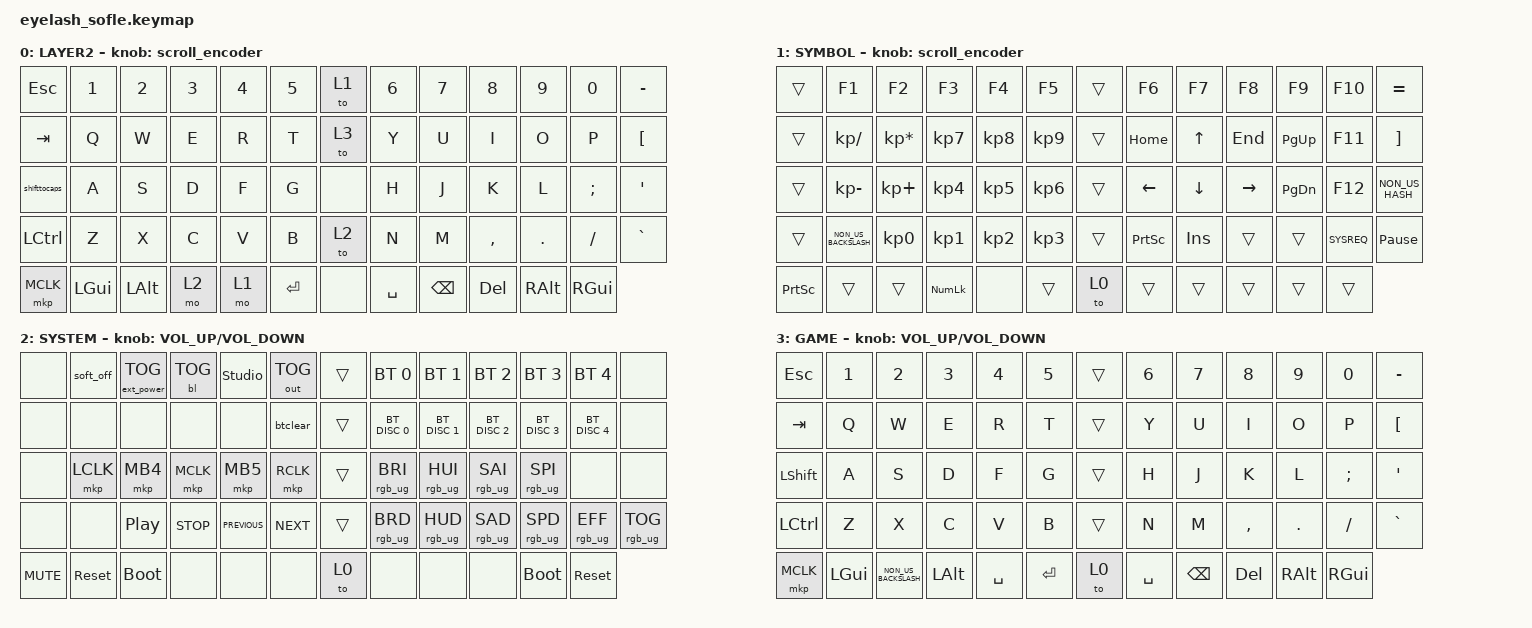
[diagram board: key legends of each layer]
#define ZMK_POINTING_DEFAULT_MOVE_VAL 1200  // 600
#define ZMK_POINTING_DEFAULT_SCRL_VAL 18   // 10

#include <input/processors.dtsi>
#include <zephyr/dt-bindings/input/input-event-codes.h>
#include <behaviors.dtsi>
#include <dt-bindings/zmk/backlight.h>
#include <dt-bindings/zmk/bt.h>
#include <dt-bindings/zmk/ext_power.h>
#include <dt-bindings/zmk/keys.h>
#include <dt-bindings/zmk/outputs.h>
#include <dt-bindings/zmk/pointing.h>
#include <dt-bindings/zmk/rgb.h>

&mmv_input_listener { input-processors = <&zip_xy_scaler 2 1>; };

//&msc_input_listener { input-processors = <&zip_scroll_scaler 2 1>; };

&msc_input_listener {
};

&msc {
    acceleration-exponent = <0>;
    time-to-max-speed-ms = <0>;
    delay-ms = <0>;
};

&mmv {
    time-to-max-speed-ms = <500>;
    acceleration-exponent = <1>;
    trigger-period-ms = <16>;
};

&soft_off { hold-time-ms = <2000>; };

/ {
    scroll_encoder: scroll_encoder {
        compatible = "zmk,behavior-sensor-rotate";
        #sensor-binding-cells = <0>;
        bindings = <&msc SCRL_DOWN>, <&msc SCRL_UP>;

        tap-ms = <100>;
    };

    shifttocaps: shifttocaps {
        compatible = "zmk,behavior-tap-dance";
        label = "SHIFTTOCAPS";
        #binding-cells = <0>;
        bindings = <&kp LEFT_SHIFT>, <&caps_word>, <&kp CAPSLOCK>;
    };

    btclear: btclear {
        compatible = "zmk,behavior-mod-morph";
        label = "BTCLEAR";
        bindings = <&bt BT_CLR>, <&bt BT_CLR_ALL>;

        #binding-cells = <0>;
        mods = <(MOD_LSFT)>;
    };

    behaviors {
    };

    combos { compatible = "zmk,combos"; };

    macros {
        SHIFT_MCLK: SHIFT_MCLK {
            compatible = "zmk,behavior-macro";
            #binding-cells = <0>;
            bindings =
                <&macro_press>,
                <&kp LEFT_SHIFT>,
                <&macro_press>,
                <&mkp MB3>,
                <&macro_pause_for_release>,
                <&macro_release>,
                <&kp LEFT_SHIFT &mkp MB3>;

            label = "SHIFT_MCLK";
        };
    };

    keymap {
        compatible = "zmk,keymap";

        MAIN {
            bindings = <
&kp ESC       &kp N1        &kp N2        &kp N3  &kp N4  &kp N5        &to 1  &kp N6     &kp N7         &kp N8     &kp N9         &kp N0         &kp MINUS
&kp TAB       &kp Q         &kp W         &kp E   &kp R   &kp T         &to 3  &kp Y      &kp U          &kp I      &kp O          &kp P          &kp LEFT_BRACKET
&shifttocaps  &kp A         &kp S         &kp D   &kp F   &kp G         &none  &kp H      &kp J          &kp K      &kp L          &kp SEMI       &kp APOS
&kp LCTRL     &kp Z         &kp X         &kp C   &kp V   &kp B         &to 2  &kp N      &kp M          &kp COMMA  &kp DOT        &kp FSLH       &kp GRAVE
&mkp MCLK     &kp LEFT_GUI  &kp LEFT_ALT  &mo 2   &mo 1   &kp RETURN    &none  &kp SPACE  &kp BACKSPACE  &kp DEL    &kp RIGHT_ALT  &kp RIGHT_GUI
            >;

            display-name = "LAYER2";
            sensor-bindings = <&scroll_encoder>;
        };

        SYMBOL {
            bindings = <
&trans           &kp F1                &kp F2           &kp F3           &kp F4           &kp F5             &trans  &kp F6           &kp F7          &kp F8           &kp F9         &kp F10     &kp EQUAL
&trans           &kp KP_DIVIDE         &kp KP_MULTIPLY  &kp KP_NUMBER_7  &kp KP_NUMBER_8  &kp KP_NUMBER_9    &trans  &kp HOME         &kp UP_ARROW    &kp END          &kp PAGE_UP    &kp F11     &kp RIGHT_BRACKET
&trans           &kp KP_MINUS          &kp KP_PLUS      &kp KP_NUMBER_4  &kp KP_NUMBER_5  &kp KP_NUMBER_6    &trans  &kp LEFT_ARROW   &kp DOWN_ARROW  &kp RIGHT_ARROW  &kp PAGE_DOWN  &kp F12     &kp NON_US_HASH
&trans           &kp NON_US_BACKSLASH  &kp KP_NUMBER_0  &kp KP_NUMBER_1  &kp KP_NUMBER_2  &kp KP_NUMBER_3    &trans  &kp PRINTSCREEN  &kp INSERT      &trans           &trans         &kp SYSREQ  &kp PAUSE_BREAK
&kp PRINTSCREEN  &trans                &trans           &kp KP_NUMLOCK   &none            &trans             &to 0   &trans           &trans          &trans           &trans         &trans
            >;

            display-name = "SYMBOL";
            sensor-bindings = <&scroll_encoder>;
        };

        SYSTEM {
            bindings = <
&none       &soft_off   &ext_power EP_TOG  &bl BL_TOG  &studio_unlock  &out OUT_TOG    &trans  &bt BT_SEL 0     &bt BT_SEL 1     &bt BT_SEL 2     &bt BT_SEL 3     &bt BT_SEL 4     &none
&none       &none       &none              &none       &none           &btclear        &trans  &bt BT_DISC 0    &bt BT_DISC 1    &bt BT_DISC 2    &bt BT_DISC 3    &bt BT_DISC 4    &none
&none       &mkp LCLK   &mkp MB4           &mkp MCLK   &mkp MB5        &mkp RCLK       &trans  &rgb_ug RGB_BRI  &rgb_ug RGB_HUI  &rgb_ug RGB_SAI  &rgb_ug RGB_SPI  &none            &none
&none       &none       &kp C_PLAY_PAUSE   &kp C_STOP  &kp C_PREVIOUS  &kp C_NEXT      &trans  &rgb_ug RGB_BRD  &rgb_ug RGB_HUD  &rgb_ug RGB_SAD  &rgb_ug RGB_SPD  &rgb_ug RGB_EFF  &rgb_ug RGB_TOG
&kp C_MUTE  &sys_reset  &bootloader        &none       &none           &none           &to 0   &none            &none            &none            &bootloader      &sys_reset
            >;

            display-name = "SYSTEM";
            sensor-bindings = <&inc_dec_kp C_VOLUME_UP C_VOLUME_DOWN>;
        };

        GAME {
            bindings = <
&kp ESC         &kp N1        &kp N2                &kp N3        &kp N4     &kp N5        &trans  &kp N6     &kp N7         &kp N8     &kp N9         &kp N0         &kp MINUS
&kp TAB         &kp Q         &kp W                 &kp E         &kp R      &kp T         &trans  &kp Y      &kp U          &kp I      &kp O          &kp P          &kp LEFT_BRACKET
&kp LEFT_SHIFT  &kp A         &kp S                 &kp D         &kp F      &kp G         &trans  &kp H      &kp J          &kp K      &kp L          &kp SEMI       &kp APOS
&kp LCTRL       &kp Z         &kp X                 &kp C         &kp V      &kp B         &trans  &kp N      &kp M          &kp COMMA  &kp DOT        &kp FSLH       &kp GRAVE
&mkp MCLK       &kp LEFT_GUI  &kp NON_US_BACKSLASH  &kp LEFT_ALT  &kp SPACE  &kp RETURN    &to 0   &kp SPACE  &kp BACKSPACE  &kp DEL    &kp RIGHT_ALT  &kp RIGHT_GUI
            >;

            sensor-bindings = <&inc_dec_kp C_VOLUME_UP C_VOLUME_DOWN>;
            label = "GAME";
        };
    };
};
